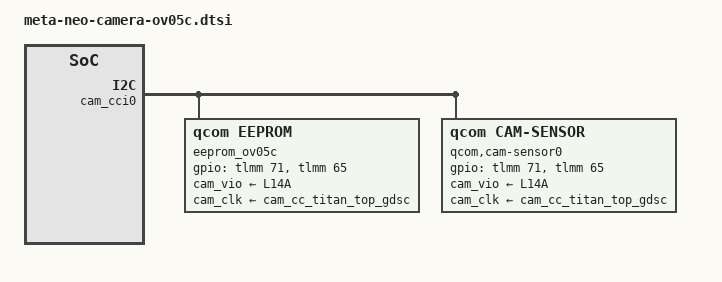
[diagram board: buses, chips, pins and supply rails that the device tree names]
#include <dt-bindings/clock/qcom,camcc-neo.h>
#include <dt-bindings/camera/msm-camera.h>

&soc {
	qcom,cam-res-mgr {
		compatible = "qcom,cam-res-mgr";
		status = "ok";
	};
};

&cam_cci0 {
	eeprom_ov05c: qcom,eeprom0 {
		cell-index = <0>;
		compatible = "qcom,eeprom";
		csiphy-sd-index = <2>;
		cam_vio-supply  = <&L14A>;
		cam_clk-supply  = <&cam_cc_titan_top_gdsc>;
		regulator-names = "cam_vio",
			"cam_clk" ;
		rgltr-cntrl-support;
		rgltr-min-voltage  = <1200000 0>;
		rgltr-max-voltage  = <2800000 0>;
		rgltr-load-current = <2700  0>;
		gpio-no-mux = <0>;
		pinctrl-names = "cam_default", "cam_suspend";
		pinctrl-0 = <&cam_sensor_mclk2_active
			&cam_sensor_active_rst0>;
		pinctrl-1 = <&cam_sensor_mclk2_suspend
			&cam_sensor_suspend_rst0>;
		gpios = <&tlmm 71 0>,
			<&tlmm 65 0>;
		gpio-reset = <1>;
		gpio-req-tbl-num = <0 1>;
		gpio-req-tbl-flags = <1 0>;
		gpio-req-tbl-label = "CAMIF_MCLK2",
					"CAM_RESET0";
		cci-master = <0>;
		clocks = <&camcc CAM_CC_MCLK2_CLK>;
		clock-names = "cam_clk";
		clock-cntl-level = "nominal";
		clock-rates = <19200000>;
		status = "ok";
	};

	qcom,cam-sensor0 {
		cell-index = <0>;
		compatible = "qcom,cam-sensor";
		csiphy-sd-index = <2>;
		eeprom-src = <&eeprom_ov05c>;
		sensor-position-roll = <0>;
		sensor-position-pitch = <0>;
		sensor-position-yaw = <180>;
		cam_vio-supply  = <&L14A>;
		cam_clk-supply  = <&cam_cc_titan_top_gdsc>;
		regulator-names = "cam_vio",
			"cam_clk" ;
		rgltr-cntrl-support;
		rgltr-min-voltage  = <1200000 0>;
		rgltr-max-voltage  = <2800000 0>;
		rgltr-load-current = <2700  0>;
		gpio-no-mux = <0>;
		pinctrl-names = "cam_default", "cam_suspend";
		pinctrl-0 = <&cam_sensor_mclk2_active
			&cam_sensor_active_rst0>;
		pinctrl-1 = <&cam_sensor_mclk2_suspend
			&cam_sensor_suspend_rst0>;
		gpios = <&tlmm 71 0>,
			<&tlmm 65 0>;
		gpio-reset = <1>;
		gpio-req-tbl-num = <0 1>;
		gpio-req-tbl-flags = <1 0>;
		gpio-req-tbl-label = "CAMIF_MCLK2",
					"CAM_RESET0";
		cci-master = <0>;
		clocks = <&camcc CAM_CC_MCLK2_CLK>;
		clock-names = "cam_clk";
		clock-cntl-level = "nominal";
		clock-rates = <19200000>;
		status = "ok";
	};
};
